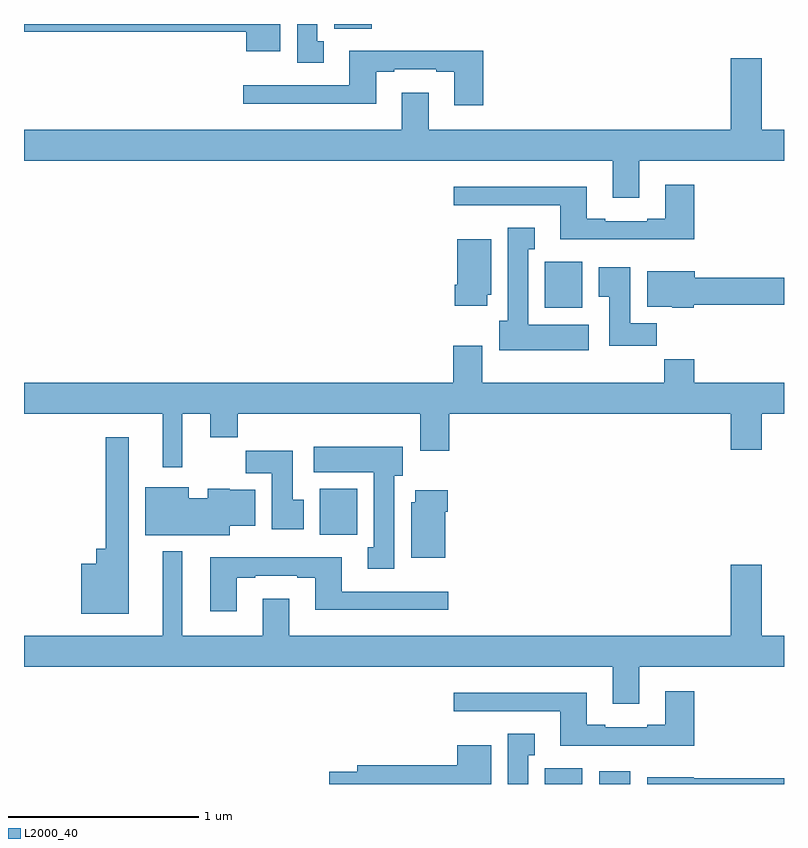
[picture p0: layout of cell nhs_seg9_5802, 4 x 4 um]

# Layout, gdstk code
import gdstk
lib = gdstk.Library(unit=1e-6, precision=1e-09)
def R(c, l, rs):  # rectangles x0, y0, x1, y1
    for r in rs: c.add(gdstk.rectangle(r[:2], r[2:], *l))
def P(c, l, *ps):  # polygons
    for p in ps: c.add(gdstk.Polygon(p, *l))
L2000_40 = (2000, 40)

nhs_seg9_5802 = lib.new_cell('nhs_seg9_5802')
R(nhs_seg9_5802, L2000_40, [(451.742,1166.5,451.939,1166.584), (452.027,1166.5,452.191,1166.566), (450.557,1167.812,450.754,1168.054), (451.742,1169.006,451.939,1169.248), (450.632,1170.476,450.829,1170.5)])
P(nhs_seg9_5802, L2000_40, [(450.349,1170.5),(449,1170.5),(449,1170.46),(450.17,1170.46),(450.17,1170.356),(450.349,1170.356)],
  [(450.577,1170.41),(450.544,1170.41),(450.544,1170.5),(450.437,1170.5),(450.437,1170.297),(450.577,1170.297)],
  [(451.418,1170.358),(450.713,1170.358),(450.713,1170.177),(450.153,1170.177),(450.153,1170.08),(450.853,1170.08),(450.853,1170.249),(450.949,1170.249),(450.949,1170.261),(451.169,1170.261),(451.169,1170.249),(451.265,1170.249),(451.265,1170.072),(451.418,1170.072)],
  [(452.239,1169.78),(453,1169.78),(453,1169.944),(452.884,1169.944),(452.884,1170.319),(452.72,1170.319),(452.72,1169.944),(451.129,1169.944),(451.129,1170.139),(450.989,1170.139),(450.989,1169.944),(449,1169.944),(449,1169.78),(452.099,1169.78),(452.099,1169.586),(452.239,1169.586)],
  [(452.528,1169.653),(452.375,1169.653),(452.375,1169.476),(452.279,1169.476),(452.279,1169.463),(452.059,1169.463),(452.059,1169.476),(451.963,1169.476),(451.963,1169.644),(451.263,1169.644),(451.263,1169.547),(451.823,1169.547),(451.823,1169.366),(452.528,1169.366)],
  [(451.972,1168.918),(451.654,1168.918),(451.654,1169.315),(451.687,1169.315),(451.687,1169.428),(451.547,1169.428),(451.547,1168.938),(451.502,1168.938),(451.502,1168.784),(451.972,1168.784)],
  [(451.438,1169.076),(451.459,1169.076),(451.459,1169.368),(451.28,1169.368),(451.28,1169.128),(451.268,1169.128),(451.268,1169.016),(451.438,1169.016)],
  [(452.33,1168.924),(452.191,1168.924),(452.191,1169.221),(452.024,1169.221),(452.024,1169.065),(452.081,1169.065),(452.081,1168.806),(452.33,1168.806)],
  [(452.526,1169.023),(453,1169.023),(453,1169.165),(452.53,1169.165),(452.53,1169.2),(452.279,1169.2),(452.279,1169.012),(452.412,1169.012),(452.412,1169.006),(452.526,1169.006)],
  [(449,1168.448),(449.729,1168.448),(449.729,1168.167),(449.833,1168.167),(449.833,1168.448),(449.981,1168.448),(449.981,1168.324),(450.125,1168.324),(450.125,1168.448),(451.085,1168.448),(451.085,1168.254),(451.238,1168.254),(451.238,1168.448),(452.72,1168.448),(452.72,1168.26),(452.884,1168.26),(452.884,1168.448),(453,1168.448),(453,1168.612),(452.528,1168.612),(452.528,1168.736),(452.371,1168.736),(452.371,1168.612),(451.411,1168.612),(451.411,1168.807),(451.259,1168.807),(451.259,1168.612),(449,1168.612)],
  [(449.551,1168.324),(449.43,1168.324),(449.43,1167.739),(449.381,1167.739),(449.381,1167.658),(449.3,1167.658),(449.3,1167.395),(449.551,1167.395)],
  [(450.949,1168.122),(450.994,1168.122),(450.994,1168.276),(450.525,1168.276),(450.525,1168.142),(450.842,1168.142),(450.842,1167.746),(450.809,1167.746),(450.809,1167.633),(450.949,1167.633)],
  [(450.472,1167.996),(450.415,1167.996),(450.415,1168.255),(450.166,1168.255),(450.166,1168.136),(450.305,1168.136),(450.305,1167.84),(450.472,1167.84)],
  [(450.084,1167.86),(450.217,1167.86),(450.217,1168.048),(450.084,1168.048),(450.084,1168.054),(449.966,1168.054),(449.966,1168.003),(449.866,1168.003),(449.866,1168.063),(449.639,1168.063),(449.639,1167.809),(450.084,1167.809)],
  [(451.216,1167.932),(451.229,1167.932),(451.229,1168.045),(451.058,1168.045),(451.058,1167.984),(451.037,1167.984),(451.037,1167.692),(451.216,1167.692)],
  [(452.239,1167.116),(453,1167.116),(453,1167.28),(452.884,1167.28),(452.884,1167.655),(452.72,1167.655),(452.72,1167.28),(450.397,1167.28),(450.397,1167.475),(450.257,1167.475),(450.257,1167.28),(449.833,1167.28),(449.833,1167.724),(449.729,1167.724),(449.729,1167.28),(449,1167.28),(449,1167.116),(452.099,1167.116),(452.099,1166.922),(452.239,1166.922)],
  [(450.121,1167.585),(450.217,1167.585),(450.217,1167.597),(450.437,1167.597),(450.437,1167.585),(450.533,1167.585),(450.533,1167.416),(451.234,1167.416),(451.234,1167.513),(450.673,1167.513),(450.673,1167.694),(449.981,1167.694),(449.981,1167.408),(450.121,1167.408)],
  [(452.528,1166.989),(452.375,1166.989),(452.375,1166.812),(452.279,1166.812),(452.279,1166.799),(452.059,1166.799),(452.059,1166.812),(451.963,1166.812),(451.963,1166.98),(451.263,1166.98),(451.263,1166.883),(451.823,1166.883),(451.823,1166.702),(452.528,1166.702)],
  [(451.654,1166.651),(451.687,1166.651),(451.687,1166.764),(451.547,1166.764),(451.547,1166.5),(451.654,1166.5)],
  [(451.459,1166.704),(451.28,1166.704),(451.28,1166.6),(450.755,1166.6),(450.755,1166.564),(450.606,1166.564),(450.606,1166.5),(451.459,1166.5)],
  [(453,1166.531),(452.526,1166.531),(452.526,1166.536),(452.279,1166.536),(452.279,1166.5),(453,1166.5)])

lib.write_gds('nhs_seg9_5802.gds')
